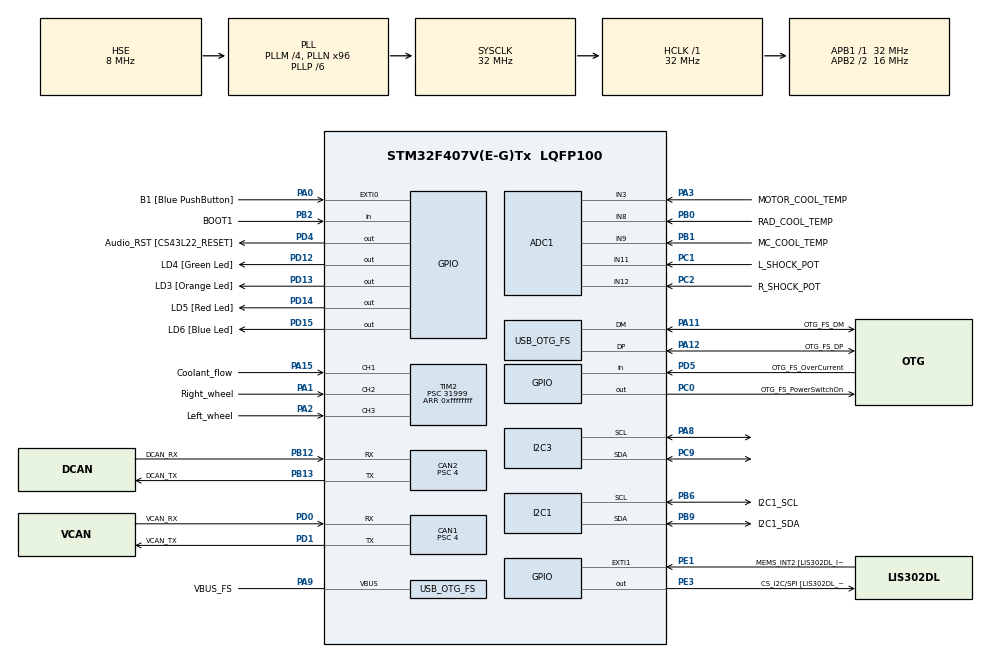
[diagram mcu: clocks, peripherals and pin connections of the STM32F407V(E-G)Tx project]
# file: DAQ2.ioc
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ADC1.Channel-3\#ChannelRegularConversion=ADC_CHANNEL_3
ADC1.Channel-4\#ChannelRegularConversion=ADC_CHANNEL_8
ADC1.Channel-5\#ChannelRegularConversion=ADC_CHANNEL_9
ADC1.Channel-6\#ChannelRegularConversion=ADC_CHANNEL_3
ADC1.Channel-7\#ChannelRegularConversion=ADC_CHANNEL_3
ADC1.ContinuousConvMode=ENABLE
ADC1.DMAContinuousRequests=ENABLE
ADC1.EOCSelection=ADC_EOC_SEQ_CONV
ADC1.InjNumberOfConversion=0
ADC1.NbrOfConversion=5
ADC1.NbrOfConversionFlag=1
ADC1.Rank-3\#ChannelRegularConversion=1
ADC1.Rank-4\#ChannelRegularConversion=2
ADC1.Rank-5\#ChannelRegularConversion=3
ADC1.Rank-6\#ChannelRegularConversion=4
ADC1.Rank-7\#ChannelRegularConversion=5
ADC1.SamplingTime-3\#ChannelRegularConversion=ADC_SAMPLETIME_144CYCLES
ADC1.SamplingTime-4\#ChannelRegularConversion=ADC_SAMPLETIME_144CYCLES
ADC1.SamplingTime-5\#ChannelRegularConversion=ADC_SAMPLETIME_144CYCLES
ADC1.SamplingTime-6\#ChannelRegularConversion=ADC_SAMPLETIME_3CYCLES
ADC1.SamplingTime-7\#ChannelRegularConversion=ADC_SAMPLETIME_3CYCLES
ADC1.master=1
CAN1.ABOM=ENABLE
CAN1.BS1=CAN_BS1_7TQ
CAN1.BS2=CAN_BS2_8TQ
CAN1.CalculateTimeQuantum=125.0
CAN1.Prescaler=4
CAN1.SJW=CAN_SJW_2TQ
CAN2.ABOM=ENABLE
CAN2.BS1=CAN_BS1_7TQ
CAN2.BS2=CAN_BS2_8TQ
CAN2.CalculateTimeQuantum=125.0
CAN2.Prescaler=4
CAN2.SJW=CAN_SJW_2TQ
Dma.ADC1.0.Direction=DMA_PERIPH_TO_MEMORY
Dma.ADC1.0.FIFOMode=DMA_FIFOMODE_DISABLE
Dma.ADC1.0.Instance=DMA2_Stream0
Dma.ADC1.0.MemDataAlignment=DMA_MDATAALIGN_WORD
Dma.ADC1.0.MemInc=DMA_MINC_ENABLE
Dma.ADC1.0.Mode=DMA_CIRCULAR
Dma.ADC1.0.PeriphDataAlignment=DMA_PDATAALIGN_WORD
Dma.ADC1.0.PeriphInc=DMA_PINC_DISABLE
Dma.ADC1.0.Priority=DMA_PRIORITY_MEDIUM
Dma.Request0=ADC1
FREERTOS.INCLUDE_vTaskDelayUntil=1
FREERTOS.INCLUDE_xTaskGetHandle=1
FREERTOS.Tasks01=defaultTask,0,128,StartDefaultTask,Default,NULL
Mcu.Family=STM32F4
Mcu.Name=STM32F407V(E-G)Tx
Mcu.Package=LQFP100
NVIC.CAN1_RX0_IRQn=true\:5\:0\:false\:false\:true\:true\:true
NVIC.CAN1_RX1_IRQn=true\:5\:0\:false\:false\:true\:true\:true
NVIC.Ccfallon61/IMUAN1_TX_IRQn=true\:5\:0\:false\:false\:true\:true\:true
NVIC.CAN2_RX0_IRQn=true\:5\:0\:false\:false\:true\:true\:true
NVIC.CAN2_RX1_IRQn=true\:5\:0\:false\:false\:true\:true\:true
NVIC.CAN2_TX_IRQn=true\:5\:0\:false\:false\:true\:true\:true
NVIC.DMA2_Stream0_IRQn=true\:5\:0\:false\:false\:true\:true\:false
NVIC.OTG_FS_IRQn=true\:5\:0\:false\:false\:true\:true\:true
NVIC.PriorityGroup=NVIC_PRIORITYGROUP_4
NVIC.TIM1_UP_TIM10_IRQn=true\:0\:0\:false\:false\:true\:false\:false\:true
NVIC.TIM2_IRQn=true\:5\:0\:false\:false\:true\:true\:true\:true
NVIC.TimeBase=TIM1_UP_TIM10_IRQn
NVIC.TimeBaseIP=TIM1
PA0-WKUP.GPIO_Label=B1 [Blue PushButton]
PA0-WKUP.GPIO_ModeDefaultEXTI=GPIO_MODE_EVT_RISING
PA0-WKUP.GPIO_PuPd=GPIO_NOPULL
PA0-WKUP.Signal=GPXTI0
PA1.GPIO_Label=Right_wheel
PA1.GPIO_PuPd=GPIO_PULLUP
PA1.GPIO_Speed=GPIO_SPEED_FREQ_VERY_HIGH
PA1.Signal=S_TIM2_CH2
PA10.GPIO_Label=OTG_FS_ID
PA10.GPIO_Mode=GPIO_MODE_AF_PP
PA10.GPIO_PuPd=GPIO_NOPULL
PA10.GPIO_Speed=GPIO_SPEED_FREQ_LOW
PA10.Signal=USB_OTG_FS_ID
PA11.GPIO_Label=OTG_FS_DM
PA11.GPIO_Mode=GPIO_MODE_AF_PP
PA11.GPIO_PuPd=GPIO_NOPULL
PA11.GPIO_Speed=GPIO_SPEED_FREQ_LOW
PA11.Mode=Host_Only
PA11.Signal=USB_OTG_FS_DM
PA12.GPIO_Label=OTG_FS_DP
PA12.GPIO_Mode=GPIO_MODE_AF_PP
PA12.GPIO_PuPd=GPIO_NOPULL
PA12.GPIO_Speed=GPIO_SPEED_FREQ_LOW
PA12.Mode=Host_Only
PA12.Signal=USB_OTG_FS_DP
PA13.GPIO_Label=SWDIO
PA13.Mode=Serial_Wire
PA13.Signal=SYS_JTMS-SWDIO
PA14.GPIO_Label=SWCLK
PA14.Mode=Serial_Wire
PA14.Signal=SYS_JTCK-SWCLK
PA15.GPIO_Label=Coolant_flow
PA15.GPIO_PuPd=GPIO_PULLDOWN
PA15.GPIO_Speed=GPIO_SPEED_FREQ_VERY_HIGH
PA15.Signal=S_TIM2_CH1_ETR
PA2.GPIO_Label=Left_wheel
PA2.GPIO_PuPd=GPIO_PULLUP
PA2.GPIO_Speed=GPIO_SPEED_FREQ_VERY_HIGH
PA2.Signal=S_TIM2_CH3
PA3.GPIO_Label=MOTOR_COOL_TEMP
PA3.Signal=ADCx_IN3
PA4.GPIO_Label=I2S3_WS [CS43L22_LRCK]
PA4.GPIO_Mode=GPIO_MODE_AF_PP
PA4.GPIO_PuPd=GPIO_NOPULL
PA4.GPIO_Speed=GPIO_SPEED_FREQ_LOW
PA4.Signal=I2S3_WS
PA5.GPIO_Label=SPI1_SCK [LIS302DL_SCL/SPC]
PA5.GPIO_Mode=GPIO_MODE_AF_PP
PA5.GPIO_PuPd=GPIO_NOPULL
PA5.GPIO_Speed=GPIO_SPEED_FREQ_LOW
PA5.Signal=SPI1_SCK
PA6.GPIO_Label=SPI1_MISO [LIS302DL_SDO]
PA6.GPIO_Mode=GPIO_MODE_AF_PP
PA6.GPIO_PuPd=GPIO_NOPULL
PA6.GPIO_Speed=GPIO_SPEED_FREQ_LOW
PA6.Signal=SPI1_MISO
PA7.GPIO_Label=SPI1_MOSI [LIS302DL_SDA/SDI/SDO]
PA7.GPIO_Mode=GPIO_MODE_AF_PP
PA7.GPIO_PuPd=GPIO_NOPULL
PA7.GPIO_Speed=GPIO_SPEED_FREQ_LOW
PA7.Signal=SPI1_MOSI
PA8.Mode=I2C
PA8.Signal=I2C3_SCL
PA9.GPIO_Label=VBUS_FS
PA9.GPIO_Mode=GPIO_MODE_INPUT
PA9.GPIO_PuPd=GPIO_NOPULL
PA9.Mode=Activate_VBUS
PA9.Signal=USB_OTG_FS_VBUS
PB0.GPIO_Label=RAD_COOL_TEMP
PB0.Signal=ADCx_IN8
PB1.GPIO_Label=MC_COOL_TEMP
PB1.Signal=ADCx_IN9
PB10.GPIO_Label=CLK_IN [MP45DT02_CLK]
PB10.GPIO_Mode=GPIO_MODE_AF_PP
PB10.GPIO_PuPd=GPIO_NOPULL
PB10.GPIO_Speed=GPIO_SPEED_FREQ_LOW
PB10.Signal=I2S2_CK
PB12.GPIO_Label=DCAN_RX
PB12.Mode=Slave
PB12.Signal=CAN2_RX
PB13.GPIO_Label=DCAN_TX
PB13.Mode=Slave
PB13.Signal=CAN2_TX
PB2.GPIO_Label=BOOT1
PB2.GPIO_Mode=GPIO_MODE_INPUT
PB2.GPIO_PuPd=GPIO_NOPULL
PB2.Signal=GPIO_Input
PB3.GPIO_Label=SWO
PB3.Signal=SYS_JTDO-SWO
PB6.GPIO_Label=I2C1_SCL
PB6.GPIO_Mode=GPIO_MODE_AF_OD
PB6.GPIO_PuPd=GPIO_NOPULL
PB6.GPIO_Speed=GPIO_SPEED_FREQ_LOW
PB6.Mode=I2C
PB6.Signal=I2C1_SCL
PB9.GPIO_Label=I2C1_SDA
PB9.GPIO_Mode=GPIO_MODE_AF_OD
PB9.GPIO_PuPd=GPIO_NOPULL
PB9.GPIO_Speed=GPIO_SPEED_FREQ_LOW
PB9.Mode=I2C
PB9.Signal=I2C1_SDA
PC0.GPIO_Label=OTG_FS_PowerSwitchOn
PC0.GPIO_PuPd=GPIO_NOPULL
PC0.GPIO_Speed=GPIO_SPEED_FREQ_LOW
PC0.PinState=GPIO_PIN_SET
PC0.Signal=GPIO_Output
PC1.GPIO_Label=L_SHOCK_POT
PC1.Signal=ADCx_IN11
PC10.GPIO_Label=I2S3_SCK [CS43L22_SCLK]
PC10.GPIO_Mode=GPIO_MODE_AF_PP
PC10.GPIO_PuPd=GPIO_NOPULL
PC10.GPIO_Speed=GPIO_SPEED_FREQ_LOW
PC10.Signal=I2S3_CK
PC12.GPIO_Label=I2S3_SD [CS43L22_SDIN]
PC12.GPIO_Mode=GPIO_MODE_AF_PP
PC12.GPIO_PuPd=GPIO_NOPULL
PC12.GPIO_Speed=GPIO_SPEED_FREQ_LOW
PC12.Signal=I2S3_SD
PC14-OSC32_IN.GPIO_Label=PC14-OSC32_IN
PC14-OSC32_IN.Mode=LSE-External-Oscillator
PC14-OSC32_IN.Signal=RCC_OSC32_IN
PC15-OSC32_OUT.GPIO_Label=PC15-OSC32_OUT
PC15-OSC32_OUT.Mode=LSE-External-Oscillator
PC15-OSC32_OUT.Signal=RCC_OSC32_OUT
PC2.GPIO_Label=R_SHOCK_POT
PC2.Signal=ADCx_IN12
PC3.GPIO_Label=PDM_OUT [MP45DT02_DOUT]
PC3.GPIO_Mode=GPIO_MODE_AF_PP
PC3.GPIO_PuPd=GPIO_NOPULL
PC3.GPIO_Speed=GPIO_SPEED_FREQ_LOW
PC3.Signal=I2S2_SD
PC7.GPIO_Label=I2S3_MCK [CS43L22_MCLK]
PC7.GPIO_Mode=GPIO_MODE_AF_PP
PC7.GPIO_PuPd=GPIO_NOPULL
PC7.GPIO_Speed=GPIO_SPEED_FREQ_LOW
PC7.Signal=I2S3_MCK
PC9.Mode=I2C
PC9.Signal=I2C3_SDA
PD0.GPIO_Label=VCAN_RX
PD0.Mode=Master
PD0.Signal=CAN1_RX
PD1.GPIO_Label=VCAN_TX
PD1.Mode=Master
PD1.Signal=CAN1_TX
PD12.GPIO_Label=LD4 [Green Led]
PD12.GPIO_PuPd=GPIO_NOPULL
PD12.GPIO_Speed=GPIO_SPEED_FREQ_LOW
PD12.Signal=GPIO_Output
PD13.GPIO_Label=LD3 [Orange Led]
PD13.GPIO_PuPd=GPIO_NOPULL
PD13.GPIO_Speed=GPIO_SPEED_FREQ_LOW
PD13.Signal=GPIO_Output
PD14.GPIO_Label=LD5 [Red Led]
PD14.GPIO_PuPd=GPIO_NOPULL
PD14.GPIO_Speed=GPIO_SPEED_FREQ_LOW
PD14.Signal=GPIO_Output
PD15.GPIO_Label=LD6 [Blue Led]
PD15.GPIO_PuPd=GPIO_NOPULL
PD15.GPIO_Speed=GPIO_SPEED_FREQ_LOW
PD15.Signal=GPIO_Output
PD4.GPIO_Label=Audio_RST [CS43L22_RESET]
PD4.GPIO_PuPd=GPIO_NOPULL
PD4.GPIO_Speed=GPIO_SPEED_FREQ_LOW
PD4.Signal=GPIO_Output
PD5.GPIO_Label=OTG_FS_OverCurrent
PD5.GPIO_Mode=GPIO_MODE_INPUT
PD5.GPIO_PuPd=GPIO_NOPULL
PD5.Signal=GPIO_Input
PE1.GPIO_Label=MEMS_INT2 [LIS302DL_INT2]
PE1.GPIO_ModeDefaultEXTI=GPIO_MODE_EVT_RISING
PE1.GPIO_PuPd=GPIO_NOPULL
PE1.Signal=GPXTI1
PE3.GPIO_Label=CS_I2C/SPI [LIS302DL_CS_I2C/SPI]
PE3.GPIO_PuPd=GPIO_NOPULL
PE3.GPIO_Speed=GPIO_SPEED_FREQ_LOW
PE3.Signal=GPIO_Output
PH0-OSC_IN.GPIO_Label=PH0-OSC_IN
PH0-OSC_IN.Mode=HSE-External-Oscillator
PH0-OSC_IN.Signal=RCC_OSC_IN
PH1-OSC_OUT.GPIO_Label=PH1-OSC_OUT
PH1-OSC_OUT.Mode=HSE-External-Oscillator
PH1-OSC_OUT.Signal=RCC_OSC_OUT
ProjectManager.HeapSize=0x200
ProjectManager.StackSize=0x400
ProjectManager.TargetToolchain=SW4STM32
RCC.48MHZClocksFreq_Value=48000000
RCC.AHBFreq_Value=32000000
RCC.APB1Freq_Value=32000000
RCC.APB1TimFreq_Value=32000000
RCC.APB2CLKDivider=RCC_HCLK_DIV2
RCC.APB2Freq_Value=16000000
RCC.APB2TimFreq_Value=32000000
RCC.CortexFreq_Value=32000000
RCC.HCLKFreq_Value=32000000
RCC.HSE_VALUE=8000000
RCC.HSI_VALUE=16000000
RCC.PLLI2SN=50
RCC.PLLM=4
RCC.PLLN=96
RCC.PLLP=RCC_PLLP_DIV6
RCC.SYSCLKFreq_VALUE=32000000
RCC.SYSCLKSource=RCC_SYSCLKSOURCE_PLLCLK
RCC.VCOOutputFreq_Value=192000000
SH.ADCx_IN11.0=ADC1_IN11,IN11
SH.ADCx_IN12.0=ADC1_IN12,IN12
SH.ADCx_IN3.0=ADC1_IN3,IN3
SH.ADCx_IN8.0=ADC1_IN8,IN8
SH.ADCx_IN9.0=ADC1_IN9,IN9
SH.S_TIM2_CH1_ETR.0=TIM2_CH1,Input_Capture1_from_TI1
SH.S_TIM2_CH2.0=TIM2_CH2,Input_Capture2_from_TI2
SH.S_TIM2_CH3.0=TIM2_CH3,Input_Capture3_from_TI3
TIM2.Channel-Input_Capture1_from_TI1=TIM_CHANNEL_1
TIM2.Channel-Input_Capture2_from_TI2=TIM_CHANNEL_2
TIM2.Channel-Input_Capture3_from_TI3=TIM_CHANNEL_3
TIM2.ICPolarity_CH1=TIM_INPUTCHANNELPOLARITY_FALLING
TIM2.ICPolarity_CH2=TIM_INPUTCHANNELPOLARITY_FALLING
TIM2.ICPolarity_CH3=TIM_INPUTCHANNELPOLARITY_FALLING
TIM2.Period=0xffffffff
TIM2.Prescaler=31999
USB_OTG_FS.VirtualMode=Host_Only
USB_OTG_FS.phy_itface=HCD_PHY_EMBEDDED
VP_FREERTOS_VS_ENABLE.Mode=Enabled
VP_SYS_VS_tim1.Mode=TIM1
VP_TIM2_VS_ClockSourceINT.Mode=Internal
board=STM32F4DISCOVERY

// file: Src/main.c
/* USER CODE BEGIN Header */
/**
  * @brief  Function implementing the defaultTask thread.
  * @param  argument: Not used
  * @retval None
  */
/* USER CODE END Header */

#include "main.h"
#include "cmsis_os.h"

/* USER CODE BEGIN Includes */
#include "hall_effect_sensors.h"
#include "maxsensor.h"
#include "max1161x.h"
#include "daq2.h"

/* USER CODE END Includes */

ADC_HandleTypeDef hadc1;
DMA_HandleTypeDef hdma_adc1;

CAN_HandleTypeDef hcan1;
CAN_HandleTypeDef hcan2;

I2C_HandleTypeDef hi2c1;
I2C_HandleTypeDef hi2c3;

TIM_HandleTypeDef htim2;

HCD_HandleTypeDef hhcd_USB_OTG_FS;

osThreadId defaultTaskHandle;
/* USER CODE BEGIN PV */
/* Private variables ---------------------------------------------------------*/
volatile DAQ_t daq;
volatile hall_sensor g_right_wheel;
volatile hall_sensor g_left_wheel;

#ifdef REAR_DAQ
	volatile hall_sensor g_c_flow;
#endif

/* USER CODE END PV */

void SystemClock_Config(void);
static void MX_GPIO_Init(void);
static void MX_DMA_Init(void);
static void MX_CAN1_Init(void);
static void MX_TIM2_Init(void);
static void MX_CAN2_Init(void);
static void MX_I2C3_Init(void);
static void MX_I2C1_Init(void);
static void MX_USB_OTG_FS_HCD_Init(void);
static void MX_ADC1_Init(void);
void StartDefaultTask(void const * argument);

/* USER CODE BEGIN PFP */
/* Private function prototypes -----------------------------------------------*/
/* USER CODE END PFP */

int main(void)
{

  /* MCU Configuration--------------------------------------------------------*/

  /* Reset of all peripherals, Initializes the Flash interface and the Systick. */
  HAL_Init();

  /* Configure the system clock */
  SystemClock_Config();

  /* Initialize all configured peripherals */
  MX_GPIO_Init();
  MX_DMA_Init();
  MX_CAN1_Init();
  MX_TIM2_Init();
  MX_CAN2_Init();
  MX_I2C3_Init();
  MX_I2C1_Init();
  MX_USB_OTG_FS_HCD_Init();
  MX_ADC1_Init();
  /* USER CODE BEGIN 2 */

  HAL_TIM_Base_Start(&htim2);

  init_daq2(&daq, &hi2c1, &hi2c3, &htim2, &hcan1, &hcan2);

  if (HAL_CAN_Start(&hcan1) != HAL_OK)
	{
  	while(1)
  	{
    	HAL_GPIO_TogglePin(GPIOD, LD6_Pin);
    	HAL_Delay(1000);
  	}
	}

  if (HAL_CAN_Start(&hcan2) != HAL_OK)
	{
  	while(1)
		{
			HAL_GPIO_TogglePin(GPIOD, LD3_Pin);
			HAL_Delay(1000);
		}
	}
//	HAL_GPIO_TogglePin(GPIOD, LD4_Pin);

  HAL_CAN_ActivateNotification(&hcan1, CAN_IT_RX_FIFO0_MSG_PENDING);
  HAL_CAN_ActivateNotification(&hcan1, CAN_IT_RX_FIFO1_MSG_PENDING);
  HAL_CAN_ActivateNotification(&hcan2, CAN_IT_RX_FIFO0_MSG_PENDING);
  HAL_CAN_ActivateNotification(&hcan2, CAN_IT_RX_FIFO1_MSG_PENDING);

  start_daq2();

  /* USER CODE END 2 */

  /* Create the thread(s) */
  /* definition and creation of defaultTask */
  osThreadDef(defaultTask, StartDefaultTask, osPriorityNormal, 0, 128);
  defaultTaskHandle = osThreadCreate(osThread(defaultTask), NULL);

  /* Start scheduler */
  osKernelStart();

  /* We should never get here as control is now taken by the scheduler */

  /* Infinite loop */
  while (1)
  {

  }
}

void SystemClock_Config(void)
{
  RCC_OscInitTypeDef RCC_OscInitStruct = {0};
  RCC_ClkInitTypeDef RCC_ClkInitStruct = {0};

  /**Configure the main internal regulator output voltage
  */
  __HAL_RCC_PWR_CLK_ENABLE();
  __HAL_PWR_VOLTAGESCALING_CONFIG(PWR_REGULATOR_VOLTAGE_SCALE1);
  /**Initializes the CPU, AHB and APB busses clocks
  */
  RCC_OscInitStruct.OscillatorType = RCC_OSCILLATORTYPE_HSE;
  RCC_OscInitStruct.HSEState = RCC_HSE_ON;
  RCC_OscInitStruct.PLL.PLLState = RCC_PLL_ON;
  RCC_OscInitStruct.PLL.PLLSource = RCC_PLLSOURCE_HSE;
  RCC_OscInitStruct.PLL.PLLM = 4;
  RCC_OscInitStruct.PLL.PLLN = 96;
  RCC_OscInitStruct.PLL.PLLP = RCC_PLLP_DIV6;
  RCC_OscInitStruct.PLL.PLLQ = 4;
  if (HAL_RCC_OscConfig(&RCC_OscInitStruct) != HAL_OK)
  {
    Error_Handler();
  }
  /**Initializes the CPU, AHB and APB busses clocks
  */
  RCC_ClkInitStruct.ClockType = RCC_CLOCKTYPE_HCLK|RCC_CLOCKTYPE_SYSCLK
                              |RCC_CLOCKTYPE_PCLK1|RCC_CLOCKTYPE_PCLK2;
  RCC_ClkInitStruct.SYSCLKSource = RCC_SYSCLKSOURCE_PLLCLK;
  RCC_ClkInitStruct.AHBCLKDivider = RCC_SYSCLK_DIV1;
  RCC_ClkInitStruct.APB1CLKDivider = RCC_HCLK_DIV1;
  RCC_ClkInitStruct.APB2CLKDivider = RCC_HCLK_DIV2;

  if (HAL_RCC_ClockConfig(&RCC_ClkInitStruct, FLASH_LATENCY_1) != HAL_OK)
  {
    Error_Handler();
  }
}

static void MX_ADC1_Init(void)
{

  ADC_ChannelConfTypeDef sConfig = {0};

  /**Configure the global features of the ADC (Clock, Resolution, Data Alignment and number of conversion)
  */
  hadc1.Instance = ADC1;
  hadc1.Init.ClockPrescaler = ADC_CLOCK_SYNC_PCLK_DIV2;
  hadc1.Init.Resolution = ADC_RESOLUTION_12B;
  hadc1.Init.ScanConvMode = ENABLE;
  hadc1.Init.ContinuousConvMode = ENABLE;
  hadc1.Init.DiscontinuousConvMode = DISABLE;
  hadc1.Init.ExternalTrigConvEdge = ADC_EXTERNALTRIGCONVEDGE_NONE;
  hadc1.Init.ExternalTrigConv = ADC_SOFTWARE_START;
  hadc1.Init.DataAlign = ADC_DATAALIGN_RIGHT;
  hadc1.Init.NbrOfConversion = 5;
  hadc1.Init.DMAContinuousRequests = ENABLE;
  hadc1.Init.EOCSelection = ADC_EOC_SEQ_CONV;
  if (HAL_ADC_Init(&hadc1) != HAL_OK)
  {
    Error_Handler();
  }
  /**Configure for the selected ADC regular channel its corresponding rank in the sequencer and its sample time.
  */
  sConfig.Channel = ADC_CHANNEL_3;
  sConfig.Rank = 1;
  sConfig.SamplingTime = ADC_SAMPLETIME_144CYCLES;
  if (HAL_ADC_ConfigChannel(&hadc1, &sConfig) != HAL_OK)
  {
    Error_Handler();
  }
  /**Configure for the selected ADC regular channel its corresponding rank in the sequencer and its sample time.
  */
  sConfig.Channel = ADC_CHANNEL_8;
  sConfig.Rank = 2;
  if (HAL_ADC_ConfigChannel(&hadc1, &sConfig) != HAL_OK)
  {
    Error_Handler();
  }
  /**Configure for the selected ADC regular channel its corresponding rank in the sequencer and its sample time.
  */
  sConfig.Channel = ADC_CHANNEL_9;
  sConfig.Rank = 3;
  if (HAL_ADC_ConfigChannel(&hadc1, &sConfig) != HAL_OK)
  {
    Error_Handler();
  }
  /**Configure for the selected ADC regular channel its corresponding rank in the sequencer and its sample time.
  */
  sConfig.Channel = ADC_CHANNEL_3;
  sConfig.Rank = 4;
  sConfig.SamplingTime = ADC_SAMPLETIME_3CYCLES;
  if (HAL_ADC_ConfigChannel(&hadc1, &sConfig) != HAL_OK)
  {
    Error_Handler();
  }
  /**Configure for the selected ADC regular channel its corresponding rank in the sequencer and its sample time.
  */
  sConfig.Rank = 5;
  if (HAL_ADC_ConfigChannel(&hadc1, &sConfig) != HAL_OK)
  {
    Error_Handler();
  }

}

static void MX_CAN1_Init(void)
{

  hcan1.Instance = CAN1;
  hcan1.Init.Prescaler = 4;
  hcan1.Init.Mode = CAN_MODE_NORMAL;
  hcan1.Init.SyncJumpWidth = CAN_SJW_2TQ;
  hcan1.Init.TimeSeg1 = CAN_BS1_7TQ;
  hcan1.Init.TimeSeg2 = CAN_BS2_8TQ;
  hcan1.Init.TimeTriggeredMode = DISABLE;
  hcan1.Init.AutoBusOff = ENABLE;
  hcan1.Init.AutoWakeUp = DISABLE;
  hcan1.Init.AutoRetransmission = DISABLE;
  hcan1.Init.ReceiveFifoLocked = DISABLE;
  hcan1.Init.TransmitFifoPriority = DISABLE;
  if (HAL_CAN_Init(&hcan1) != HAL_OK)
  {
    Error_Handler();
  }

}

static void MX_CAN2_Init(void)
{

  hcan2.Instance = CAN2;
  hcan2.Init.Prescaler = 4;
  hcan2.Init.Mode = CAN_MODE_NORMAL;
  hcan2.Init.SyncJumpWidth = CAN_SJW_2TQ;
  hcan2.Init.TimeSeg1 = CAN_BS1_7TQ;
  hcan2.Init.TimeSeg2 = CAN_BS2_8TQ;
  hcan2.Init.TimeTriggeredMode = DISABLE;
  hcan2.Init.AutoBusOff = ENABLE;
  hcan2.Init.AutoWakeUp = DISABLE;
  hcan2.Init.AutoRetransmission = DISABLE;
  hcan2.Init.ReceiveFifoLocked = DISABLE;
  hcan2.Init.TransmitFifoPriority = DISABLE;
  if (HAL_CAN_Init(&hcan2) != HAL_OK)
  {
    Error_Handler();
  }

}

static void MX_I2C1_Init(void)
{

  hi2c1.Instance = I2C1;
  hi2c1.Init.ClockSpeed = 100000;
  hi2c1.Init.DutyCycle = I2C_DUTYCYCLE_2;
  hi2c1.Init.OwnAddress1 = 0;
  hi2c1.Init.AddressingMode = I2C_ADDRESSINGMODE_7BIT;
  hi2c1.Init.DualAddressMode = I2C_DUALADDRESS_DISABLE;
  hi2c1.Init.OwnAddress2 = 0;
  hi2c1.Init.GeneralCallMode = I2C_GENERALCALL_DISABLE;
  hi2c1.Init.NoStretchMode = I2C_NOSTRETCH_DISABLE;
  if (HAL_I2C_Init(&hi2c1) != HAL_OK)
  {
    Error_Handler();
  }

}

static void MX_I2C3_Init(void)
{

  hi2c3.Instance = I2C3;
  hi2c3.Init.ClockSpeed = 100000;
  hi2c3.Init.DutyCycle = I2C_DUTYCYCLE_2;
  hi2c3.Init.OwnAddress1 = 0;
  hi2c3.Init.AddressingMode = I2C_ADDRESSINGMODE_7BIT;
  hi2c3.Init.DualAddressMode = I2C_DUALADDRESS_DISABLE;
  hi2c3.Init.OwnAddress2 = 0;
  hi2c3.Init.GeneralCallMode = I2C_GENERALCALL_DISABLE;
  hi2c3.Init.NoStretchMode = I2C_NOSTRETCH_DISABLE;
  if (HAL_I2C_Init(&hi2c3) != HAL_OK)
  {
    Error_Handler();
  }

}

static void MX_TIM2_Init(void)
{

  TIM_ClockConfigTypeDef sClockSourceConfig = {0};
  TIM_MasterConfigTypeDef sMasterConfig = {0};
  TIM_IC_InitTypeDef sConfigIC = {0};

  htim2.Instance = TIM2;
  htim2.Init.Prescaler = 31999;
  htim2.Init.CounterMode = TIM_COUNTERMODE_UP;
  htim2.Init.Period = 0xffffffff;
  htim2.Init.ClockDivision = TIM_CLOCKDIVISION_DIV1;
  if (HAL_TIM_Base_Init(&htim2) != HAL_OK)
  {
    Error_Handler();
  }
  sClockSourceConfig.ClockSource = TIM_CLOCKSOURCE_INTERNAL;
  if (HAL_TIM_ConfigClockSource(&htim2, &sClockSourceConfig) != HAL_OK)
  {
    Error_Handler();
  }
  if (HAL_TIM_IC_Init(&htim2) != HAL_OK)
  {
    Error_Handler();
  }
  sMasterConfig.MasterOutputTrigger = TIM_TRGO_RESET;
  sMasterConfig.MasterSlaveMode = TIM_MASTERSLAVEMODE_DISABLE;
  if (HAL_TIMEx_MasterConfigSynchronization(&htim2, &sMasterConfig) != HAL_OK)
  {
    Error_Handler();
  }
  sConfigIC.ICPolarity = TIM_INPUTCHANNELPOLARITY_FALLING;
  sConfigIC.ICSelection = TIM_ICSELECTION_DIRECTTI;
  sConfigIC.ICPrescaler = TIM_ICPSC_DIV1;
  sConfigIC.ICFilter = 0;
  if (HAL_TIM_IC_ConfigChannel(&htim2, &sConfigIC, TIM_CHANNEL_1) != HAL_OK)
  {
    Error_Handler();
  }
  if (HAL_TIM_IC_ConfigChannel(&htim2, &sConfigIC, TIM_CHANNEL_2) != HAL_OK)
  {
    Error_Handler();
  }
  if (HAL_TIM_IC_ConfigChannel(&htim2, &sConfigIC, TIM_CHANNEL_3) != HAL_OK)
  {
    Error_Handler();
  }

}

static void MX_USB_OTG_FS_HCD_Init(void)
{

  hhcd_USB_OTG_FS.Instance = USB_OTG_FS;
  hhcd_USB_OTG_FS.Init.Host_channels = 8;
  hhcd_USB_OTG_FS.Init.speed = HCD_SPEED_FULL;
  hhcd_USB_OTG_FS.Init.dma_enable = DISABLE;
  hhcd_USB_OTG_FS.Init.phy_itface = HCD_PHY_EMBEDDED;
  hhcd_USB_OTG_FS.Init.Sof_enable = DISABLE;
  if (HAL_HCD_Init(&hhcd_USB_OTG_FS) != HAL_OK)
  {
    Error_Handler();
  }

}

static void MX_DMA_Init(void)
{
  /* DMA controller clock enable */
  __HAL_RCC_DMA2_CLK_ENABLE();

  /* DMA interrupt init */
  /* DMA2_Stream0_IRQn interrupt configuration */
  HAL_NVIC_SetPriority(DMA2_Stream0_IRQn, 5, 0);
  HAL_NVIC_EnableIRQ(DMA2_Stream0_IRQn);

}

static void MX_GPIO_Init(void)
{
  GPIO_InitTypeDef GPIO_InitStruct = {0};

  /* GPIO Ports Clock Enable */
  __HAL_RCC_GPIOE_CLK_ENABLE();
  __HAL_RCC_GPIOC_CLK_ENABLE();
  __HAL_RCC_GPIOH_CLK_ENABLE();
  __HAL_RCC_GPIOA_CLK_ENABLE();
  __HAL_RCC_GPIOB_CLK_ENABLE();
  __HAL_RCC_GPIOD_CLK_ENABLE();

  /*Configure GPIO pin Output Level */
  HAL_GPIO_WritePin(CS_I2C_SPI_GPIO_Port, CS_I2C_SPI_Pin, GPIO_PIN_RESET);

  /*Configure GPIO pin Output Level */
  HAL_GPIO_WritePin(OTG_FS_PowerSwitchOn_GPIO_Port, OTG_FS_PowerSwitchOn_Pin, GPIO_PIN_SET);

  /*Configure GPIO pin Output Level */
  HAL_GPIO_WritePin(GPIOD, LD4_Pin|LD3_Pin|LD5_Pin|LD6_Pin
                          |Audio_RST_Pin, GPIO_PIN_RESET);

  /*Configure GPIO pin : CS_I2C_SPI_Pin */
  GPIO_InitStruct.Pin = CS_I2C_SPI_Pin;
  GPIO_InitStruct.Mode = GPIO_MODE_OUTPUT_PP;
  GPIO_InitStruct.Pull = GPIO_NOPULL;
  GPIO_InitStruct.Speed = GPIO_SPEED_FREQ_LOW;
  HAL_GPIO_Init(CS_I2C_SPI_GPIO_Port, &GPIO_InitStruct);

  /*Configure GPIO pin : OTG_FS_PowerSwitchOn_Pin */
  GPIO_InitStruct.Pin = OTG_FS_PowerSwitchOn_Pin;
  GPIO_InitStruct.Mode = GPIO_MODE_OUTPUT_PP;
  GPIO_InitStruct.Pull = GPIO_NOPULL;
  GPIO_InitStruct.Speed = GPIO_SPEED_FREQ_LOW;
  HAL_GPIO_Init(OTG_FS_PowerSwitchOn_GPIO_Port, &GPIO_InitStruct);

  /*Configure GPIO pin : PDM_OUT_Pin */
  GPIO_InitStruct.Pin = PDM_OUT_Pin;
  GPIO_InitStruct.Mode = GPIO_MODE_AF_PP;
  GPIO_InitStruct.Pull = GPIO_NOPULL;
  GPIO_InitStruct.Speed = GPIO_SPEED_FREQ_LOW;
  GPIO_InitStruct.Alternate = GPIO_AF5_SPI2;
  HAL_GPIO_Init(PDM_OUT_GPIO_Port, &GPIO_InitStruct);

  /*Configure GPIO pin : B1_Pin */
  GPIO_InitStruct.Pin = B1_Pin;
  GPIO_InitStruct.Mode = GPIO_MODE_EVT_RISING;
  GPIO_InitStruct.Pull = GPIO_NOPULL;
  HAL_GPIO_Init(B1_GPIO_Port, &GPIO_InitStruct);

  /*Configure GPIO pin : I2S3_WS_Pin */
  GPIO_InitStruct.Pin = I2S3_WS_Pin;
  GPIO_InitStruct.Mode = GPIO_MODE_AF_PP;
  GPIO_InitStruct.Pull = GPIO_NOPULL;
  GPIO_InitStruct.Speed = GPIO_SPEED_FREQ_LOW;
  GPIO_InitStruct.Alternate = GPIO_AF6_SPI3;
  HAL_GPIO_Init(I2S3_WS_GPIO_Port, &GPIO_InitStruct);

  /*Configure GPIO pins : SPI1_SCK_Pin SPI1_MISO_Pin SPI1_MOSI_Pin */
  GPIO_InitStruct.Pin = SPI1_SCK_Pin|SPI1_MISO_Pin|SPI1_MOSI_Pin;
  GPIO_InitStruct.Mode = GPIO_MODE_AF_PP;
  GPIO_InitStruct.Pull = GPIO_NOPULL;
  GPIO_InitStruct.Speed = GPIO_SPEED_FREQ_LOW;
  GPIO_InitStruct.Alternate = GPIO_AF5_SPI1;
  HAL_GPIO_Init(GPIOA, &GPIO_InitStruct);

  /*Configure GPIO pin : BOOT1_Pin */
  GPIO_InitStruct.Pin = BOOT1_Pin;
  GPIO_InitStruct.Mode = GPIO_MODE_INPUT;
  GPIO_InitStruct.Pull = GPIO_NOPULL;
  HAL_GPIO_Init(BOOT1_GPIO_Port, &GPIO_InitStruct);

  /*Configure GPIO pin : CLK_IN_Pin */
  GPIO_InitStruct.Pin = CLK_IN_Pin;
  GPIO_InitStruct.Mode = GPIO_MODE_AF_PP;
  GPIO_InitStruct.Pull = GPIO_NOPULL;
  GPIO_InitStruct.Speed = GPIO_SPEED_FREQ_LOW;
  GPIO_InitStruct.Alternate = GPIO_AF5_SPI2;
  HAL_GPIO_Init(CLK_IN_GPIO_Port, &GPIO_InitStruct);

  /*Configure GPIO pins : LD4_Pin LD3_Pin LD5_Pin LD6_Pin
                           Audio_RST_Pin */
  GPIO_InitStruct.Pin = LD4_Pin|LD3_Pin|LD5_Pin|LD6_Pin
                          |Audio_RST_Pin;
  GPIO_InitStruct.Mode = GPIO_MODE_OUTPUT_PP;
  GPIO_InitStruct.Pull = GPIO_NOPULL;
  GPIO_InitStruct.Speed = GPIO_SPEED_FREQ_LOW;
  HAL_GPIO_Init(GPIOD, &GPIO_InitStruct);

  /*Configure GPIO pins : I2S3_MCK_Pin I2S3_SCK_Pin I2S3_SD_Pin */
  GPIO_InitStruct.Pin = I2S3_MCK_Pin|I2S3_SCK_Pin|I2S3_SD_Pin;
  GPIO_InitStruct.Mode = GPIO_MODE_AF_PP;
  GPIO_InitStruct.Pull = GPIO_NOPULL;
  GPIO_InitStruct.Speed = GPIO_SPEED_FREQ_LOW;
  GPIO_InitStruct.Alternate = GPIO_AF6_SPI3;
  HAL_GPIO_Init(GPIOC, &GPIO_InitStruct);

  /*Configure GPIO pin : OTG_FS_OverCurrent_Pin */
  GPIO_InitStruct.Pin = OTG_FS_OverCurrent_Pin;
  GPIO_InitStruct.Mode = GPIO_MODE_INPUT;
  GPIO_InitStruct.Pull = GPIO_NOPULL;
  HAL_GPIO_Init(OTG_FS_OverCurrent_GPIO_Port, &GPIO_InitStruct);

  /*Configure GPIO pin : MEMS_INT2_Pin */
  GPIO_InitStruct.Pin = MEMS_INT2_Pin;
  GPIO_InitStruct.Mode = GPIO_MODE_EVT_RISING;
  GPIO_InitStruct.Pull = GPIO_NOPULL;
  HAL_GPIO_Init(MEMS_INT2_GPIO_Port, &GPIO_InitStruct);

}

void StartDefaultTask(void const * argument)
{

  for(;;)
  {
    osDelay(1);
  }
}

void HAL_TIM_PeriodElapsedCallback(TIM_HandleTypeDef *htim)
{
  if (htim->Instance == TIM1) {
    HAL_IncTick();
  }
}

void Error_Handler(void)
{
  /* USER CODE BEGIN Error_Handler_Debug */
  /* User can add his own implementation to report the HAL error return state */
  while(1)
  {
  	while(1)
		{
			HAL_GPIO_TogglePin(GPIOD, LD3_Pin);
			HAL_GPIO_TogglePin(GPIOD, LD4_Pin);
			HAL_GPIO_TogglePin(GPIOD, LD5_Pin);
			HAL_GPIO_TogglePin(GPIOD, LD6_Pin);
			HAL_Delay(500);
		}
  }
  /* USER CODE END Error_Handler_Debug */
}

/************************ (C) COPYRIGHT STMicroelectronics *****END OF FILE****/
